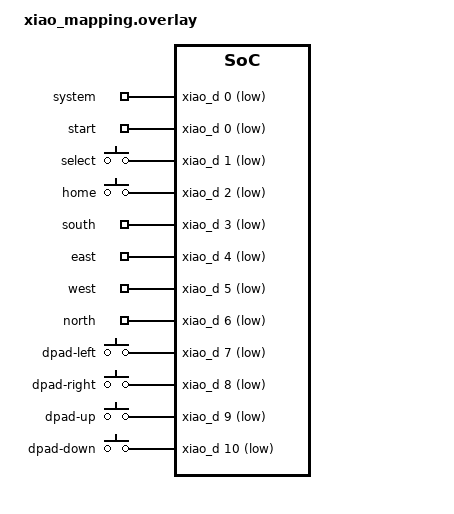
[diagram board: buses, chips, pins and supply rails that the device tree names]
// This overlay is for when a Xiao board is used standalone, not as part of Flatbox rev7.

/ {
    gamepad-buttons {
        compatible = "gpio-keys";
        /* same as start */
        system { gpios = <&xiao_d 0 (GPIO_PULL_UP | GPIO_ACTIVE_LOW)>; };
        start { gpios = <&xiao_d 0 (GPIO_PULL_UP | GPIO_ACTIVE_LOW)>; };
        select { gpios = <&xiao_d 1 (GPIO_PULL_UP | GPIO_ACTIVE_LOW)>; };
        home { gpios = <&xiao_d 2 (GPIO_PULL_UP | GPIO_ACTIVE_LOW)>; };
        south { gpios = <&xiao_d 3 (GPIO_PULL_UP | GPIO_ACTIVE_LOW)>; };
        east { gpios = <&xiao_d 4 (GPIO_PULL_UP | GPIO_ACTIVE_LOW)>; };
        west { gpios = <&xiao_d 5 (GPIO_PULL_UP | GPIO_ACTIVE_LOW)>; };
        north { gpios = <&xiao_d 6 (GPIO_PULL_UP | GPIO_ACTIVE_LOW)>; };
        dpad-left { gpios = <&xiao_d 7 (GPIO_PULL_UP | GPIO_ACTIVE_LOW)>; };
        dpad-right { gpios = <&xiao_d 8 (GPIO_PULL_UP | GPIO_ACTIVE_LOW)>; };
        dpad-up { gpios = <&xiao_d 9 (GPIO_PULL_UP | GPIO_ACTIVE_LOW)>; };
        dpad-down { gpios = <&xiao_d 10 (GPIO_PULL_UP | GPIO_ACTIVE_LOW)>; };
    };
};
